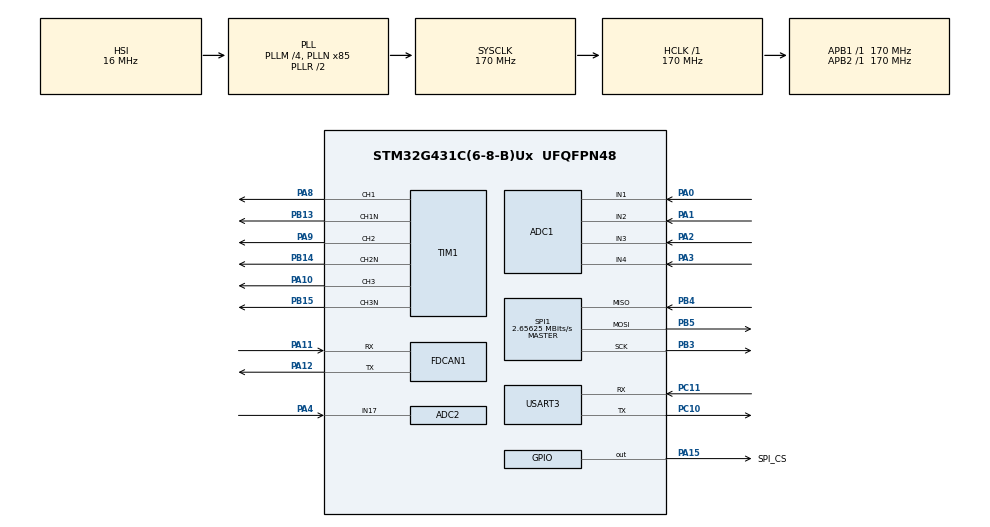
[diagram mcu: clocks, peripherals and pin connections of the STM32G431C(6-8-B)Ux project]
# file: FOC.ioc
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ADC1.Channel-0\#ChannelRegularConversion=ADC_CHANNEL_1
ADC1.NbrOfConversionFlag=1
ADC1.OffsetNumber-0\#ChannelRegularConversion=ADC_OFFSET_NONE
ADC1.Rank-0\#ChannelRegularConversion=1
ADC1.SamplingTime-0\#ChannelRegularConversion=ADC_SAMPLETIME_2CYCLES_5
ADC1.master=1
ADC2.Channel-0\#ChannelRegularConversion=ADC_CHANNEL_17
ADC2.NbrOfConversionFlag=1
ADC2.OffsetNumber-0\#ChannelRegularConversion=ADC_OFFSET_NONE
ADC2.Rank-0\#ChannelRegularConversion=1
ADC2.SamplingTime-0\#ChannelRegularConversion=ADC_SAMPLETIME_2CYCLES_5
FDCAN1.CalculateBaudRateNominal=3541666
FDCAN1.CalculateTimeBitNominal=282
FDCAN1.CalculateTimeQuantumNominal=94.11764705882354
FREERTOS.Tasks01=defaultTask,24,128,StartDefaultTask,Default,NULL,Dynamic,NULL,NULL
Mcu.Family=STM32G4
Mcu.Name=STM32G431C(6-8-B)Ux
Mcu.Package=UFQFPN48
NVIC.PriorityGroup=NVIC_PRIORITYGROUP_4
PA0.Mode=IN1-Single-Ended
PA0.Signal=ADC1_IN1
PA1.Mode=IN2-Single-Ended
PA1.Signal=ADC1_IN2
PA10.Signal=S_TIM1_CH3
PA11.Mode=FDCAN_Activate
PA11.Signal=FDCAN1_RX
PA12.Mode=FDCAN_Activate
PA12.Signal=FDCAN1_TX
PA13.Mode=Serial_Wire
PA13.Signal=SYS_JTMS-SWDIO
PA14.Mode=Serial_Wire
PA14.Signal=SYS_JTCK-SWCLK
PA2.Mode=IN3-Single-Ended
PA2.Signal=ADC1_IN3
PA3.Mode=IN4-Single-Ended
PA3.Signal=ADC1_IN4
PA4.Mode=IN17-Single-Ended
PA4.Signal=ADC2_IN17
PA8.Signal=S_TIM1_CH1
PA9.Signal=S_TIM1_CH2
PA15.GPIO_Label=SPI_CS
PA15.Signal=GPIO_Output
PB13.Mode=Output Compare1 CH1 CH1N
PB13.Signal=TIM1_CH1N
PB14.Mode=PWM Generation2 CH2 CH2N
PB14.Signal=TIM1_CH2N
PB15.Mode=Output Compare3 CH3 CH3N
PB15.Signal=TIM1_CH3N
PB3.Mode=Full_Duplex_Master
PB3.Signal=SPI1_SCK
PB4.Mode=Full_Duplex_Master
PB4.Signal=SPI1_MISO
PB5.Mode=Full_Duplex_Master
PB5.Signal=SPI1_MOSI
PC10.Mode=Asynchronous
PC10.Signal=USART3_TX
PC11.Mode=Asynchronous
PC11.Signal=USART3_RX
PF0-OSC_IN.Mode=HSE-External-Oscillator
PF0-OSC_IN.Signal=RCC_OSC_IN
PF1-OSC_OUT.Mode=HSE-External-Oscillator
PF1-OSC_OUT.Signal=RCC_OSC_OUT
ProjectManager.HeapSize=0x200
ProjectManager.StackSize=0x400
ProjectManager.TargetToolchain=MDK-ARM V5.32
RCC.ADC12Freq_Value=170000000
RCC.AHBFreq_Value=170000000
RCC.APB1Freq_Value=170000000
RCC.APB1TimFreq_Value=170000000
RCC.APB2Freq_Value=170000000
RCC.APB2TimFreq_Value=170000000
RCC.CortexFreq_Value=170000000
RCC.EXTERNAL_CLOCK_VALUE=12288000
RCC.HCLKFreq_Value=170000000
RCC.HSE_VALUE=8000000
RCC.HSI48_VALUE=48000000
RCC.HSI_VALUE=16000000
RCC.PLLM=RCC_PLLM_DIV4
RCC.PLLN=85
RCC.SYSCLKFreq_VALUE=170000000
RCC.SYSCLKSource=RCC_SYSCLKSOURCE_PLLCLK
RCC.USBFreq_Value=170000000
RCC.VCOOutputFreq_Value=340000000
SH.S_TIM1_CH1.0=TIM1_CH1,Output Compare1 CH1 CH1N
SH.S_TIM1_CH2.0=TIM1_CH2,PWM Generation2 CH2 CH2N
SH.S_TIM1_CH3.0=TIM1_CH3,Output Compare3 CH3 CH3N
SPI1.BaudRatePrescaler=SPI_BAUDRATEPRESCALER_64
SPI1.CLKPhase=SPI_PHASE_2EDGE
SPI1.CalculateBaudRate=2.65625 MBits/s
SPI1.DataSize=SPI_DATASIZE_16BIT
SPI1.Direction=SPI_DIRECTION_2LINES
SPI1.Mode=SPI_MODE_MASTER
SPI1.VirtualType=VM_MASTER
TIM1.Channel-Output\ Compare1\ CH1\ CH1N=TIM_CHANNEL_1
TIM1.Channel-Output\ Compare3\ CH3\ CH3N=TIM_CHANNEL_3
TIM1.Channel-PWM\ Generation2\ CH2\ CH2N=TIM_CHANNEL_2
USART3.VirtualMode-Asynchronous=VM_ASYNC
VP_FREERTOS_VS_CMSIS_V2.Mode=CMSIS_V2
VP_SYS_VS_DBSignals.Mode=DisableDeadBatterySignals
board=custom

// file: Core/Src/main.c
 /* USER CODE BEGIN Header */
/**
  ******************************************************************************
  * @file           : main.c
  * @brief          : Main program body
  ******************************************************************************
  * @attention
  *
  * Copyright (c) 2026 STMicroelectronics.
  * All rights reserved.
  *
  * This software is licensed under terms that can be found in the LICENSE file
  * in the root directory of this software component.
  * If no LICENSE file comes with this software, it is provided AS-IS.
  *
  ******************************************************************************
  */
/* USER CODE END Header */
#include "main.h"
#include "cmsis_os.h"
#include "adc.h"
#include "fdcan.h"
#include "spi.h"
#include "tim.h"
#include "usart.h"
#include "gpio.h"

/* USER CODE BEGIN Includes */
#include "motor_app.h"

/* USER CODE END Includes */

void SystemClock_Config(void);
void MX_FREERTOS_Init(void);

int main(void)
{

  /* MCU Configuration--------------------------------------------------------*/

  /* Reset of all peripherals, Initializes the Flash interface and the Systick. */
  HAL_Init();

  /* Configure the system clock */
  SystemClock_Config();

  /* Initialize all configured peripherals */
  MX_GPIO_Init();
  MX_ADC1_Init();
  MX_ADC2_Init();
  MX_FDCAN1_Init();
  MX_SPI1_Init();
  MX_TIM1_Init();
  MX_USART3_UART_Init();
  /* USER CODE BEGIN 2 */
  motor_app_init();

  /* USER CODE END 2 */

  /* Init scheduler */
  osKernelInitialize();  /* Call init function for freertos objects (in cmsis_os2.c) */
  MX_FREERTOS_Init();

  /* Start scheduler */
  osKernelStart();

  /* We should never get here as control is now taken by the scheduler */

  /* Infinite loop */
  while (1)
  {

  }
}

void SystemClock_Config(void)
{
  RCC_OscInitTypeDef RCC_OscInitStruct = {0};
  RCC_ClkInitTypeDef RCC_ClkInitStruct = {0};

  /** Configure the main internal regulator output voltage
  */
  HAL_PWREx_ControlVoltageScaling(PWR_REGULATOR_VOLTAGE_SCALE1_BOOST);

  /** Initializes the RCC Oscillators according to the specified parameters
  * in the RCC_OscInitTypeDef structure.
  */
  RCC_OscInitStruct.OscillatorType = RCC_OSCILLATORTYPE_HSI;
  RCC_OscInitStruct.HSIState = RCC_HSI_ON;
  RCC_OscInitStruct.HSICalibrationValue = RCC_HSICALIBRATION_DEFAULT;
  RCC_OscInitStruct.PLL.PLLState = RCC_PLL_ON;
  RCC_OscInitStruct.PLL.PLLSource = RCC_PLLSOURCE_HSI;
  RCC_OscInitStruct.PLL.PLLM = RCC_PLLM_DIV4;
  RCC_OscInitStruct.PLL.PLLN = 85;
  RCC_OscInitStruct.PLL.PLLP = RCC_PLLP_DIV2;
  RCC_OscInitStruct.PLL.PLLQ = RCC_PLLQ_DIV2;
  RCC_OscInitStruct.PLL.PLLR = RCC_PLLR_DIV2;
  if (HAL_RCC_OscConfig(&RCC_OscInitStruct) != HAL_OK)
  {
    Error_Handler();
  }

  /** Initializes the CPU, AHB and APB buses clocks
  */
  RCC_ClkInitStruct.ClockType = RCC_CLOCKTYPE_HCLK|RCC_CLOCKTYPE_SYSCLK
                              |RCC_CLOCKTYPE_PCLK1|RCC_CLOCKTYPE_PCLK2;
  RCC_ClkInitStruct.SYSCLKSource = RCC_SYSCLKSOURCE_PLLCLK;
  RCC_ClkInitStruct.AHBCLKDivider = RCC_SYSCLK_DIV1;
  RCC_ClkInitStruct.APB1CLKDivider = RCC_HCLK_DIV1;
  RCC_ClkInitStruct.APB2CLKDivider = RCC_HCLK_DIV1;

  if (HAL_RCC_ClockConfig(&RCC_ClkInitStruct, FLASH_LATENCY_4) != HAL_OK)
  {
    Error_Handler();
  }
}

void Error_Handler(void)
{
  __disable_irq();
  while (1)
  {
  }
}

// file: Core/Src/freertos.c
/* USER CODE BEGIN Header */
/**
  ******************************************************************************
  * File Name          : freertos.c
  * Description        : Code for freertos applications
  ******************************************************************************
  * @attention
  *
  * Copyright (c) 2026 STMicroelectronics.
  * All rights reserved.
  *
  * This software is licensed under terms that can be found in the LICENSE file
  * in the root directory of this software component.
  * If no LICENSE file comes with this software, it is provided AS-IS.
  *
  ******************************************************************************
  */
/* USER CODE END Header */

#include "FreeRTOS.h"
#include "task.h"
#include "main.h"
#include "cmsis_os.h"

/* USER CODE BEGIN Includes */
#include "GimbalControl.h"
/* USER CODE END Includes */

/* Definitions for defaultTask */
osThreadId_t defaultTaskHandle;
const osThreadAttr_t defaultTask_attributes = {
  .name = "defaultTask",
  .stack_size = 128 * 4,
  .priority = (osPriority_t) osPriorityNormal,
};

/* USER CODE BEGIN FunctionPrototypes */
void StartGimbalTask(void *argument);
/* USER CODE END FunctionPrototypes */

void StartDefaultTask(void *argument);

void MX_FREERTOS_Init(void); /* (MISRA C 2004 rule 8.1) */

void MX_FREERTOS_Init(void) {

  /* Create the thread(s) */
  /* creation of defaultTask */
  defaultTaskHandle = osThreadNew(StartDefaultTask, NULL, &defaultTask_attributes);

	xTaskCreate(StartGimbalTask, "Gimbal", 256, NULL, osPriorityHigh, NULL);

}

void StartDefaultTask(void *argument)
{
  for(;;)
  {
    osDelay(1);
  }
}

/* USER CODE BEGIN Application */

void StartGimbalTask(void *argument)
{
  for (;;)
  {
    Gimbal_ControlTask();
    osDelay(20);  // 50Hz控制频率
  }
}

/* USER CODE END Application */

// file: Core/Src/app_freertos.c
/* USER CODE BEGIN Header */
/**
  ******************************************************************************
  * File Name          : app_freertos.c
  * Description        : Code for freertos applications
  ******************************************************************************
  * @attention
  *
  * Copyright (c) 2026 STMicroelectronics.
  * All rights reserved.
  *
  * This software is licensed under terms that can be found in the LICENSE file
  * in the root directory of this software component.
  * If no LICENSE file comes with this software, it is provided AS-IS.
  *
  ******************************************************************************
  */
/* USER CODE END Header */

#include "FreeRTOS.h"
#include "task.h"
#include "main.h"
#include "cmsis_os.h"

/* USER CODE BEGIN Includes */
#include "motor_app.h"

/* USER CODE END Includes */

/* USER CODE BEGIN Variables */
osThreadId_t motorTaskHandle;
const osThreadAttr_t motorTask_attributes = {
  .name = "motorTask",
  .priority = (osPriority_t) osPriorityHigh,
  .stack_size = 256 * 4
};

osThreadId_t commTaskHandle;
const osThreadAttr_t commTask_attributes = {
  .name = "commTask",
  .priority = (osPriority_t) osPriorityNormal,
  .stack_size = 256 * 4
};

/* USER CODE END Variables */
/* Definitions for defaultTask */
osThreadId_t defaultTaskHandle;
const osThreadAttr_t defaultTask_attributes = {
  .name = "defaultTask",
  .priority = (osPriority_t) osPriorityNormal,
  .stack_size = 128 * 4
};

/* USER CODE BEGIN FunctionPrototypes */
void StartMotorTask(void *argument);
void StartCommTask(void *argument);

/* USER CODE END FunctionPrototypes */

void StartDefaultTask(void *argument);

void MX_FREERTOS_Init(void); /* (MISRA C 2004 rule 8.1) */

void MX_FREERTOS_Init(void) {

  /* Create the thread(s) */
  /* creation of defaultTask */
  defaultTaskHandle = osThreadNew(StartDefaultTask, NULL, &defaultTask_attributes);

  /* USER CODE BEGIN RTOS_THREADS */
  /* add threads, ... */
  motorTaskHandle = osThreadNew(StartMotorTask, NULL, &motorTask_attributes);
  commTaskHandle = osThreadNew(StartCommTask, NULL, &commTask_attributes);
  /* USER CODE END RTOS_THREADS */

}

void StartDefaultTask(void *argument)
{
  for(;;)
  {
    osDelay(1);
  }
}

/* USER CODE BEGIN Application */
void StartMotorTask(void *argument)
{
  motor_app_motor_task(argument);
}

void StartCommTask(void *argument)
{
  motor_app_comm_task(argument);
}

/* USER CODE END Application */
